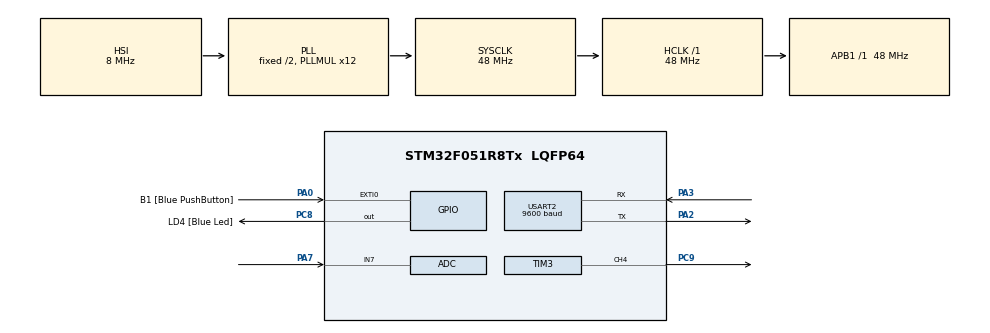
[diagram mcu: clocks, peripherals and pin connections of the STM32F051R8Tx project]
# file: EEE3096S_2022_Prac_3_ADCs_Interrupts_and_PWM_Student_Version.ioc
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Dma.ADC.1.Direction=DMA_PERIPH_TO_MEMORY
Dma.ADC.1.Instance=DMA1_Channel1
Dma.ADC.1.MemDataAlignment=DMA_MDATAALIGN_HALFWORD
Dma.ADC.1.MemInc=DMA_MINC_ENABLE
Dma.ADC.1.Mode=DMA_NORMAL
Dma.ADC.1.PeriphDataAlignment=DMA_PDATAALIGN_HALFWORD
Dma.ADC.1.PeriphInc=DMA_PINC_DISABLE
Dma.ADC.1.Priority=DMA_PRIORITY_LOW
Dma.Request0=USART2_TX
Dma.Request1=ADC
Dma.USART2_TX.0.Direction=DMA_MEMORY_TO_PERIPH
Dma.USART2_TX.0.Instance=DMA1_Channel4
Dma.USART2_TX.0.MemDataAlignment=DMA_MDATAALIGN_BYTE
Dma.USART2_TX.0.MemInc=DMA_MINC_ENABLE
Dma.USART2_TX.0.Mode=DMA_NORMAL
Dma.USART2_TX.0.PeriphDataAlignment=DMA_PDATAALIGN_BYTE
Dma.USART2_TX.0.PeriphInc=DMA_PINC_DISABLE
Dma.USART2_TX.0.Priority=DMA_PRIORITY_LOW
Mcu.Family=STM32F0
Mcu.Name=STM32F051R8Tx
Mcu.Package=LQFP64
NVIC.ADC1_COMP_IRQn=true\:0\:0\:false\:false\:true\:true\:true\:true
NVIC.DMA1_Channel1_IRQn=true\:0\:0\:false\:false\:true\:false\:true\:true
NVIC.DMA1_Channel4_5_IRQn=true\:0\:0\:false\:false\:true\:false\:true\:true
NVIC.EXTI0_1_IRQn=true\:0\:0\:false\:false\:true\:true\:true\:true
NVIC.USART2_IRQn=true\:0\:0\:false\:false\:true\:true\:true\:true
PA0.GPIO_Label=B1 [Blue PushButton]
PA0.GPIO_ModeDefaultEXTI=GPIO_MODE_IT_FALLING
PA0.Signal=GPXTI0
PA13.GPIO_Label=SWDIO
PA13.Mode=Serial_Wire
PA13.Signal=SYS_SWDIO
PA14.GPIO_Label=SWCLK
PA14.Mode=Serial_Wire
PA14.Signal=SYS_SWCLK
PA2.Mode=Asynchronous
PA2.Signal=USART2_TX
PA3.Mode=Asynchronous
PA3.Signal=USART2_RX
PA7.Mode=IN7
PA7.Signal=ADC_IN7
PB6.Signal=I2C1_SCL
PB7.Signal=I2C1_SDA
PC8.GPIO_Label=LD4 [Blue Led]
PC8.Signal=GPIO_Output
PC9.Signal=S_TIM3_CH4
PF0-OSC_IN.Mode=HSE-External-Oscillator
PF0-OSC_IN.Signal=RCC_OSC_IN
PF1-OSC_OUT.Mode=HSE-External-Oscillator
PF1-OSC_OUT.Signal=RCC_OSC_OUT
ProjectManager.HeapSize=0x200
ProjectManager.StackSize=0x400
ProjectManager.TargetToolchain=STM32CubeIDE
RCC.AHBFreq_Value=48000000
RCC.APB1Freq_Value=48000000
RCC.APB1TimFreq_Value=48000000
RCC.HCLKFreq_Value=48000000
RCC.PLLMUL=RCC_PLL_MUL12
RCC.SYSCLKFreq_VALUE=48000000
RCC.SYSCLKSource=RCC_SYSCLKSOURCE_PLLCLK
SH.S_TIM3_CH4.0=TIM3_CH4,PWM Generation4 CH4
TIM3.AutoReloadPreload=TIM_AUTORELOAD_PRELOAD_ENABLE
TIM3.Channel-PWM\ Generation4\ CH4=TIM_CHANNEL_4
TIM3.Period=47999
USART2.BaudRate=9600
USART2.VirtualMode-Asynchronous=VM_ASYNC
VP_TIM3_VS_ClockSourceINT.Mode=Internal
board=STM32F0DISCOVERY

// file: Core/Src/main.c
/* USER CODE BEGIN Header */
/**
*******************************************************
Info:		STM32 ADCs, GPIO Interrupts and PWM with HAL
Author:		Amaan Vally
*******************************************************
In this practical you will learn to use the ADC on the STM32 using the HAL.
Here, we will be measuring the voltage on a potentiometer and using its value
to adjust the brightness of the on board LEDs. We set up an interrupt to switch the
display between the blue and green LEDs.

Code is also provided to send data from the STM32 to other devices using UART protocol
by using HAL. You will need Putty or a Python script to read from the serial port on your PC.

UART Connections are as follows: 5V->5V GND->GND RXD->PA2 TXD->PA3(unused).
Open device manager and go to Ports. Plug in the USB connector with the STM powered on.
Check the port number (COMx). Open up Putty and create a new Serial session on that COMx
with baud rate of 9600.
  ******************************************************************************
  */
/* USER CODE END Header */
#include "main.h"

 ADC_HandleTypeDef hadc;
DMA_HandleTypeDef hdma_adc;

TIM_HandleTypeDef htim3;

UART_HandleTypeDef huart2;
DMA_HandleTypeDef hdma_usart2_tx;

/* USER CODE BEGIN PV */
char buffer[20];

//TO DO:
//TASK 1
//Create global variables for debouncing and delay interval
int LEDFreq = 1;

/* USER CODE END PV */

void SystemClock_Config(void);
static void MX_GPIO_Init(void);
static void MX_DMA_Init(void);
static void MX_USART2_UART_Init(void);
static void MX_ADC_Init(void);
static void MX_TIM3_Init(void);
/* USER CODE BEGIN PFP */
void EXTI0_1_IRQHandler(void);
uint32_t pollADC(void);
uint32_t ADCtoCRR(uint32_t adc_val);

/* USER CODE END PFP */

int main(void)
{

  /* MCU Configuration--------------------------------------------------------*/

  /* Reset of all peripherals, Initializes the Flash interface and the Systick. */
  HAL_Init();

  /* Configure the system clock */
  SystemClock_Config();

  /* Initialize all configured peripherals */
  MX_GPIO_Init();
  MX_DMA_Init();
  MX_USART2_UART_Init();
  MX_ADC_Init();
  MX_TIM3_Init();
  /* USER CODE BEGIN 2 */

  //TO DO:
  //Create variables needed in while loop
  HAL_TIM_PWM_Start(&htim3, TIM_CHANNEL_4); //Start the PWM on TIM3 Channel 4 (Green LED)

  /* USER CODE END 2 */

  /* Infinite loop */
  /* USER CODE BEGIN WHILE */
  while (1)
  {
	  HAL_GPIO_TogglePin(GPIOC, GPIO_PIN_8); // Toggle blue LED

	  //TASK 2
	  HAL_ADC_Start(&hadc);
	  uint32_t adcVal = pollADC(); //get ADC value (this reads from the pot)
	  HAL_ADC_Stop(&hadc);

	  sprintf(buffer, "\r\nADC: %ld\r\n", adcVal); // format the message
	  HAL_UART_Transmit(&huart2, buffer, sizeof(buffer), 1000); // Send ADC over UART

	  //TASK 3
	  uint32_t pwm = ADCtoCRR(adcVal); // get PWM value
	  float dutyCycle = (pwm/47999.0)*100; // calculate duty cycle value

	  char buffer_2[20];
	  sprintf(buffer_2, "PWM: %d%%\r\n", pwm); // format the message
	  HAL_UART_Transmit(&huart2, buffer_2, sizeof(buffer_2), 1000);

	  sprintf(buffer, "Duty: %.2f%%\r\n", dutyCycle); // format the message
	  HAL_UART_Transmit(&huart2, buffer, sizeof(buffer), 1000); // Send ADC over UART

	  //TASK 4
	  __HAL_TIM_SetCompare(&htim3, TIM_CHANNEL_4, pwm); //Set the PWM of the green light

	  /*
	   * wait for 500 ms
	   * LEDFreq converts the delay to correspond with different frequencies e.g. 1Hz and 2Hz
	   */
	  HAL_Delay (500/LEDFreq); //

    /* USER CODE END WHILE */

    /* USER CODE BEGIN 3 */
  }
  HAL_TIM_PWM_Stop(&htim3, TIM_CHANNEL_4);
  /* USER CODE END 3 */
}

void SystemClock_Config(void)
{
  RCC_OscInitTypeDef RCC_OscInitStruct = {0};
  RCC_ClkInitTypeDef RCC_ClkInitStruct = {0};

  /** Initializes the RCC Oscillators according to the specified parameters
  * in the RCC_OscInitTypeDef structure.
  */
  RCC_OscInitStruct.OscillatorType = RCC_OSCILLATORTYPE_HSI|RCC_OSCILLATORTYPE_HSI14;
  RCC_OscInitStruct.HSIState = RCC_HSI_ON;
  RCC_OscInitStruct.HSI14State = RCC_HSI14_ON;
  RCC_OscInitStruct.HSICalibrationValue = RCC_HSICALIBRATION_DEFAULT;
  RCC_OscInitStruct.HSI14CalibrationValue = 16;
  RCC_OscInitStruct.PLL.PLLState = RCC_PLL_ON;
  RCC_OscInitStruct.PLL.PLLSource = RCC_PLLSOURCE_HSI;
  RCC_OscInitStruct.PLL.PLLMUL = RCC_PLL_MUL12;
  RCC_OscInitStruct.PLL.PREDIV = RCC_PREDIV_DIV1;
  if (HAL_RCC_OscConfig(&RCC_OscInitStruct) != HAL_OK)
  {
    Error_Handler();
  }

  /** Initializes the CPU, AHB and APB buses clocks
  */
  RCC_ClkInitStruct.ClockType = RCC_CLOCKTYPE_HCLK|RCC_CLOCKTYPE_SYSCLK
                              |RCC_CLOCKTYPE_PCLK1;
  RCC_ClkInitStruct.SYSCLKSource = RCC_SYSCLKSOURCE_PLLCLK;
  RCC_ClkInitStruct.AHBCLKDivider = RCC_SYSCLK_DIV1;
  RCC_ClkInitStruct.APB1CLKDivider = RCC_HCLK_DIV1;

  if (HAL_RCC_ClockConfig(&RCC_ClkInitStruct, FLASH_LATENCY_1) != HAL_OK)
  {
    Error_Handler();
  }
}

static void MX_ADC_Init(void)
{

  ADC_ChannelConfTypeDef sConfig = {0};

  /** Configure the global features of the ADC (Clock, Resolution, Data Alignment and number of conversion)
  */
  hadc.Instance = ADC1;
  hadc.Init.ClockPrescaler = ADC_CLOCK_ASYNC_DIV1;
  hadc.Init.Resolution = ADC_RESOLUTION_12B;
  hadc.Init.DataAlign = ADC_DATAALIGN_RIGHT;
  hadc.Init.ScanConvMode = ADC_SCAN_DIRECTION_FORWARD;
  hadc.Init.EOCSelection = ADC_EOC_SINGLE_CONV;
  hadc.Init.LowPowerAutoWait = DISABLE;
  hadc.Init.LowPowerAutoPowerOff = DISABLE;
  hadc.Init.ContinuousConvMode = DISABLE;
  hadc.Init.DiscontinuousConvMode = DISABLE;
  hadc.Init.ExternalTrigConv = ADC_SOFTWARE_START;
  hadc.Init.ExternalTrigConvEdge = ADC_EXTERNALTRIGCONVEDGE_NONE;
  hadc.Init.DMAContinuousRequests = DISABLE;
  hadc.Init.Overrun = ADC_OVR_DATA_PRESERVED;
  if (HAL_ADC_Init(&hadc) != HAL_OK)
  {
    Error_Handler();
  }

  /** Configure for the selected ADC regular channel to be converted.
  */
  sConfig.Channel = ADC_CHANNEL_7;
  sConfig.Rank = ADC_RANK_CHANNEL_NUMBER;
  sConfig.SamplingTime = ADC_SAMPLETIME_1CYCLE_5;
  if (HAL_ADC_ConfigChannel(&hadc, &sConfig) != HAL_OK)
  {
    Error_Handler();
  }

}

static void MX_TIM3_Init(void)
{

  TIM_ClockConfigTypeDef sClockSourceConfig = {0};
  TIM_MasterConfigTypeDef sMasterConfig = {0};
  TIM_OC_InitTypeDef sConfigOC = {0};

  htim3.Instance = TIM3;
  htim3.Init.Prescaler = 0;
  htim3.Init.CounterMode = TIM_COUNTERMODE_UP;
  htim3.Init.Period = 47999;
  htim3.Init.ClockDivision = TIM_CLOCKDIVISION_DIV1;
  htim3.Init.AutoReloadPreload = TIM_AUTORELOAD_PRELOAD_ENABLE;
  if (HAL_TIM_Base_Init(&htim3) != HAL_OK)
  {
    Error_Handler();
  }
  sClockSourceConfig.ClockSource = TIM_CLOCKSOURCE_INTERNAL;
  if (HAL_TIM_ConfigClockSource(&htim3, &sClockSourceConfig) != HAL_OK)
  {
    Error_Handler();
  }
  if (HAL_TIM_PWM_Init(&htim3) != HAL_OK)
  {
    Error_Handler();
  }
  sMasterConfig.MasterOutputTrigger = TIM_TRGO_RESET;
  sMasterConfig.MasterSlaveMode = TIM_MASTERSLAVEMODE_DISABLE;
  if (HAL_TIMEx_MasterConfigSynchronization(&htim3, &sMasterConfig) != HAL_OK)
  {
    Error_Handler();
  }
  sConfigOC.OCMode = TIM_OCMODE_PWM1;
  sConfigOC.Pulse = 0;
  sConfigOC.OCPolarity = TIM_OCPOLARITY_HIGH;
  sConfigOC.OCFastMode = TIM_OCFAST_DISABLE;
  if (HAL_TIM_PWM_ConfigChannel(&htim3, &sConfigOC, TIM_CHANNEL_4) != HAL_OK)
  {
    Error_Handler();
  }
  HAL_TIM_MspPostInit(&htim3);

}

static void MX_USART2_UART_Init(void)
{

  huart2.Instance = USART2;
  huart2.Init.BaudRate = 9600;
  huart2.Init.WordLength = UART_WORDLENGTH_8B;
  huart2.Init.StopBits = UART_STOPBITS_1;
  huart2.Init.Parity = UART_PARITY_NONE;
  huart2.Init.Mode = UART_MODE_TX_RX;
  huart2.Init.HwFlowCtl = UART_HWCONTROL_NONE;
  huart2.Init.OverSampling = UART_OVERSAMPLING_16;
  huart2.Init.OneBitSampling = UART_ONE_BIT_SAMPLE_DISABLE;
  huart2.AdvancedInit.AdvFeatureInit = UART_ADVFEATURE_NO_INIT;
  if (HAL_UART_Init(&huart2) != HAL_OK)
  {
    Error_Handler();
  }

}

static void MX_DMA_Init(void)
{

  /* DMA controller clock enable */
  __HAL_RCC_DMA1_CLK_ENABLE();

  /* DMA interrupt init */
  /* DMA1_Channel1_IRQn interrupt configuration */
  HAL_NVIC_SetPriority(DMA1_Channel1_IRQn, 0, 0);
  HAL_NVIC_EnableIRQ(DMA1_Channel1_IRQn);
  /* DMA1_Channel4_5_IRQn interrupt configuration */
  HAL_NVIC_SetPriority(DMA1_Channel4_5_IRQn, 0, 0);
  HAL_NVIC_EnableIRQ(DMA1_Channel4_5_IRQn);

}

static void MX_GPIO_Init(void)
{
  GPIO_InitTypeDef GPIO_InitStruct = {0};

  /* GPIO Ports Clock Enable */
  __HAL_RCC_GPIOF_CLK_ENABLE();
  __HAL_RCC_GPIOA_CLK_ENABLE();
  __HAL_RCC_GPIOC_CLK_ENABLE();
  __HAL_RCC_GPIOB_CLK_ENABLE();

  /*Configure GPIO pin Output Level */
  HAL_GPIO_WritePin(LD4_GPIO_Port, LD4_Pin, GPIO_PIN_RESET);

  /*Configure GPIO pin : B1_Pin */
  GPIO_InitStruct.Pin = B1_Pin;
  GPIO_InitStruct.Mode = GPIO_MODE_IT_FALLING;
  GPIO_InitStruct.Pull = GPIO_NOPULL;
  HAL_GPIO_Init(B1_GPIO_Port, &GPIO_InitStruct);

  /*Configure GPIO pin : LD4_Pin */
  GPIO_InitStruct.Pin = LD4_Pin;
  GPIO_InitStruct.Mode = GPIO_MODE_OUTPUT_PP;
  GPIO_InitStruct.Pull = GPIO_NOPULL;
  GPIO_InitStruct.Speed = GPIO_SPEED_FREQ_LOW;
  HAL_GPIO_Init(LD4_GPIO_Port, &GPIO_InitStruct);

  /*Configure GPIO pins : PB6 PB7 */
  GPIO_InitStruct.Pin = GPIO_PIN_6|GPIO_PIN_7;
  GPIO_InitStruct.Mode = GPIO_MODE_AF_OD;
  GPIO_InitStruct.Pull = GPIO_NOPULL;
  GPIO_InitStruct.Speed = GPIO_SPEED_FREQ_HIGH;
  GPIO_InitStruct.Alternate = GPIO_AF1_I2C1;
  HAL_GPIO_Init(GPIOB, &GPIO_InitStruct);

  /* EXTI interrupt init*/
  HAL_NVIC_SetPriority(EXTI0_1_IRQn, 0, 0);
  HAL_NVIC_EnableIRQ(EXTI0_1_IRQn);

}

/* USER CODE BEGIN 4 */
void EXTI0_1_IRQHandler(void)
{
	//TASK 1
	/* Switch between delay frequencies 1 and 2 Hz */

	// Correct debouncing:
	uint32_t current = HAL_GetTick();
	for (int i = current; i < (current + 10); i++); //delay by 10 ticks

	// if the frequency is 1Hz set it to 2Hz
	if(LEDFreq==1){
		LEDFreq=2;
	}
	else{ // if frequency is 2Hz set it to 1Hz
		LEDFreq=1;
	}
	HAL_GPIO_EXTI_IRQHandler(B1_Pin); // Clear interrupt flags
}

uint32_t pollADC(void){
	//TASK 2
	HAL_ADC_PollForConversion(&hadc, 500);
	uint32_t val = HAL_ADC_GetValue(&hadc); // get digital value
	return val;
}

uint32_t ADCtoCRR(uint32_t adc_val){
	//TASK 3
	//pwm = ADC*(max ARR/ max CRR)
	uint32_t val = (adc_val*(47999/4096)); // convert to PWM value
	return val;

}

/* USER CODE END 4 */

void Error_Handler(void)
{
  __disable_irq();
  while (1)
  {
  }
}
